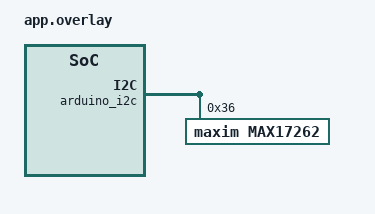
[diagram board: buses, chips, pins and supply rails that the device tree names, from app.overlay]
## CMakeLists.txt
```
# SPDX-License-Identifier: Apache-2.0

cmake_minimum_required(VERSION 3.20.0)
find_package(Zephyr REQUIRED HINTS $ENV{ZEPHYR_BASE})
project(max17262)

FILE(GLOB app_sources src/*.c)
target_sources(app PRIVATE ${app_sources})
```

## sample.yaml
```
sample:
  description: MAX17262 sensor sample
  name: MAX17262 sample
tests:
  sample.sensor.max17262:
    build_only: true
    depends_on: arduino_i2c
    harness: console
    tags: sensors
    platform_allow: nrf52840dk/nrf52840
    harness_config:
      type: one_line
      regex:
        - "V: (.*) V; I: (.*) mA; T: (.*) °C"
      fixture: fixture_i2c_max17262
```

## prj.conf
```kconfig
CONFIG_I2C=y
CONFIG_LOG=y
CONFIG_SENSOR=y
CONFIG_CBPRINTF_FP_SUPPORT=y
```

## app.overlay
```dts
/*
 * Copyright (c) 2021 Matija Tudan
 *
 * SPDX-License-Identifier: Apache-2.0
 */

&arduino_i2c {
	status = "okay";

	max17262@36 {
		compatible = "maxim,max17262";
		reg = <0x36>;
		design-voltage = <3600>;
		desired-voltage = <3600>;
		desired-charging-current = <2000>;
		design-cap = <17000>;
		empty-voltage = <3300>;
		recovery-voltage = <3880>;
		charge-voltage = <3600>;
		status = "okay";
	};
};
```

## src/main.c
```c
/*
 * Copyright (c) 2020 Matija Tudan
 *
 * SPDX-License-Identifier: Apache-2.0
 */

#include <zephyr/kernel.h>
#include <zephyr/device.h>
#include <zephyr/devicetree.h>
#include <zephyr/drivers/sensor.h>

int main(void)
{
	const struct device *const dev = DEVICE_DT_GET_ONE(maxim_max17262);

	if (!device_is_ready(dev)) {
		printk("sensor: device not ready.\n");
		return 0;
	}

	while (1) {
		struct sensor_value voltage, avg_current, temperature;
		float i_avg;

		sensor_sample_fetch(dev);
		sensor_channel_get(dev, SENSOR_CHAN_GAUGE_VOLTAGE, &voltage);
		sensor_channel_get(dev, SENSOR_CHAN_GAUGE_AVG_CURRENT,
						  &avg_current);
		sensor_channel_get(dev, SENSOR_CHAN_GAUGE_TEMP, &temperature);

		i_avg = avg_current.val1 + (avg_current.val2 / 1000000.0);

		printk("V: %d.%06d V; I: %f mA; T: %d.%06d °C\n",
		      voltage.val1, voltage.val2, (double)i_avg,
		      temperature.val1, temperature.val2);

		k_sleep(K_MSEC(1000));
	}
	return 0;
}
```
